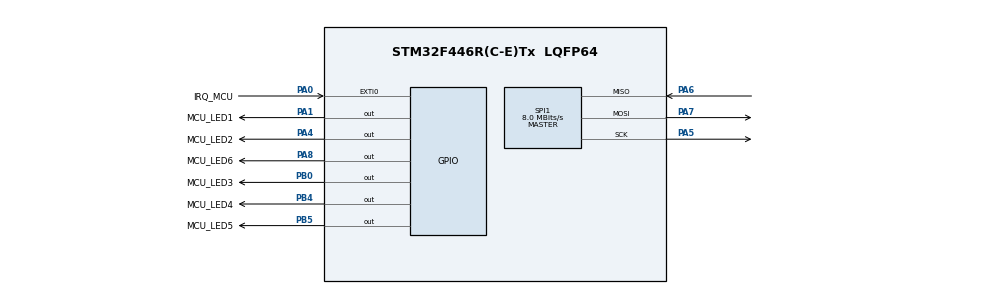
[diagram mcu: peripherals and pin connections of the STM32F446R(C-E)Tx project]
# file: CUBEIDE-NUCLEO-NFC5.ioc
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Mcu.Family=STM32F4
Mcu.Name=STM32F446R(C-E)Tx
Mcu.Package=LQFP64
NVIC.EXTI0_IRQn=true\:0\:0\:false\:false\:true\:true\:true
NVIC.PriorityGroup=NVIC_PRIORITYGROUP_4
PA0-WKUP.GPIO_Label=IRQ_MCU
PA0-WKUP.Signal=GPXTI0
PA1.GPIO_Label=MCU_LED1
PA1.Signal=GPIO_Output
PA4.GPIO_Label=MCU_LED2
PA4.Signal=GPIO_Output
PA5.Mode=Full_Duplex_Master
PA5.Signal=SPI1_SCK
PA6.Mode=Full_Duplex_Master
PA6.Signal=SPI1_MISO
PA7.Mode=Full_Duplex_Master
PA7.Signal=SPI1_MOSI
PA8.GPIO_Label=MCU_LED6
PA8.Signal=GPIO_Output
PB0.GPIO_Label=MCU_LED3
PB0.Signal=GPIO_Output
PB4.GPIO_Label=MCU_LED4
PB4.Signal=GPIO_Output
PB5.GPIO_Label=MCU_LED5
PB5.Signal=GPIO_Output
ProjectManager.HeapSize=0x200
ProjectManager.StackSize=0x400
ProjectManager.TargetToolchain=STM32CubeIDE
RCC.CortexFreq_Value=16000000
RCC.USBFreq_Value=96000000
RCC.VCOOutputFreq_Value=192000000
SPI1.CalculateBaudRate=8.0 MBits/s
SPI1.Direction=SPI_DIRECTION_2LINES
SPI1.Mode=SPI_MODE_MASTER
SPI1.VirtualType=VM_MASTER
board=custom

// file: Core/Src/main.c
/* USER CODE BEGIN Header */
/**
  ******************************************************************************
  * @file           : main.c
  * @brief          : Main program body
  ******************************************************************************
  * @attention
  *
  * <h2><center>&copy; Copyright (c) 2020 STMicroelectronics.
  * All rights reserved.</center></h2>
  *
  * This software component is licensed by ST under BSD 3-Clause license,
  * the "License"; You may not use this file except in compliance with the
  * License. You may obtain a copy of the License at:
  *                        opensource.org/licenses/BSD-3-Clause
  *
  ******************************************************************************
  */
/* USER CODE END Header */
#include "main.h"

/* USER CODE BEGIN Includes */
#include "ndef_poller.h"
#include "ndef_message.h"
#include "ndef_types_rtd.h"
#include "ndef_types_mime.h"
#include "rfal_nfc.h"

// Demo code
#include "utils.h"
/* USER CODE END Includes */

/* USER CODE BEGIN PD */
#define B1_Pin GPIO_PIN_13
#define B1_GPIO_Port GPIOC
#define IRQ_3911_Pin GPIO_PIN_0
#define IRQ_3911_GPIO_Port GPIOA
#define IRQ_3911_EXTI_IRQn EXTI0_IRQn
#define LED_F_Pin GPIO_PIN_1
#define LED_F_GPIO_Port GPIOA
#define USART_TX_Pin GPIO_PIN_2
#define USART_TX_GPIO_Port GPIOA
#define USART_RX_Pin GPIO_PIN_3
#define USART_RX_GPIO_Port GPIOA
#define LED_B_Pin GPIO_PIN_4
#define LED_B_GPIO_Port GPIOA
#define LED_A_Pin GPIO_PIN_0
#define LED_A_GPIO_Port GPIOB
#define LED_FIELD_Pin GPIO_PIN_8
#define LED_FIELD_GPIO_Port GPIOA
#define TMS_Pin GPIO_PIN_13
#define TMS_GPIO_Port GPIOA
#define TCK_Pin GPIO_PIN_14
#define TCK_GPIO_Port GPIOA
#define SWO_Pin GPIO_PIN_3
#define SWO_GPIO_Port GPIOB
#define LED_V_Pin GPIO_PIN_4
#define LED_V_GPIO_Port GPIOB
#define LED_AP2P_Pin GPIO_PIN_5
#define LED_AP2P_GPIO_Port GPIOB
#define SPI1_CS_Pin GPIO_PIN_6
#define SPI1_CS_GPIO_Port GPIOB

/* USER CODE END PD */

SPI_HandleTypeDef hspi1;

void SystemClock_Config(void);
static void MX_GPIO_Init(void);
static void MX_SPI1_Init(void);

/* USER CODE BEGIN 0 */

/* Definition of possible states the demo state machine could have */
#define DEMO_ST_NOTINIT               0     /*!< Demo State:  Not initialized        */
#define DEMO_ST_START_DISCOVERY       1     /*!< Demo State:  Start Discovery        */
#define DEMO_ST_DISCOVERY             2     /*!< Demo State:  Discovery              */

#define DEMO_NFCV_BLOCK_LEN           4     /*!< NFCV Block len                      */

#define DEMO_NFCV_USE_SELECT_MODE     false /*!< NFCV demonstrate select mode        */
#define DEMO_NFCV_WRITE_TAG           false /*!< NFCV demonstrate Write Single Block */

/*
 ******************************************************************************
 * GLOBAL MACROS
 ******************************************************************************
 */

/*
 ******************************************************************************
 * LOCAL VARIABLES
 ******************************************************************************
 */

/* P2P communication data */
static uint8_t NFCID3[] = {0x01, 0xFE, 0x03, 0x04, 0x05, 0x06, 0x07, 0x08, 0x09, 0x0A};
static uint8_t GB[] = {0x46, 0x66, 0x6d, 0x01, 0x01, 0x11, 0x02, 0x02, 0x07, 0x80, 0x03, 0x02, 0x00, 0x03, 0x04, 0x01, 0x32, 0x07, 0x01, 0x03};

/* APDUs communication data */
static uint8_t ndefSelectApp[] = { 0x00, 0xA4, 0x04, 0x00, 0x07, 0xD2, 0x76, 0x00, 0x00, 0x85, 0x01, 0x01, 0x00 };
static uint8_t ccSelectFile[] = { 0x00, 0xA4, 0x00, 0x0C, 0x02, 0xE1, 0x03};
static uint8_t readBynary[] = { 0x00, 0xB0, 0x00, 0x00, 0x0F };
/*static uint8_t ppseSelectApp[] = { 0x00, 0xA4, 0x04, 0x00, 0x0E, 0x32, 0x50, 0x41, 0x59, 0x2E, 0x53, 0x59, 0x53, 0x2E, 0x44, 0x44, 0x46, 0x30, 0x31, 0x00 };*/

/* P2P communication data */
static uint8_t ndefLLCPSYMM[] = {0x00, 0x00};
static uint8_t ndefInit[] = {0x05, 0x20, 0x06, 0x0F, 0x75, 0x72, 0x6E, 0x3A, 0x6E, 0x66, 0x63, 0x3A, 0x73, 0x6E, 0x3A, 0x73, 0x6E, 0x65, 0x70, 0x02, 0x02, 0x07, 0x80, 0x05, 0x01, 0x02};
static uint8_t ndefUriSTcom[] = {0x13, 0x20, 0x00, 0x10, 0x02, 0x00, 0x00, 0x00, 0x19, 0xc1, 0x01, 0x00, 0x00, 0x00, 0x12, 0x55, 0x00, 0x68, 0x74, 0x74, 0x70, 0x3a, 0x2f, 0x2f, 0x77, 0x77, 0x77, 0x2e, 0x73, 0x74, 0x2e, 0x63, 0x6f, 0x6d};

#if defined(ST25R3916) && defined(RFAL_FEATURE_LISTEN_MODE)
/* NFC-A CE config */
static uint8_t ceNFCA_NFCID[]     = {0x02, 0x11, 0x22, 0x33, 0x44, 0x55, 0x66};                   /* NFCID / UID (7 bytes)                    */
static uint8_t ceNFCA_SENS_RES[]  = {0x44, 0x00};                                                 /* SENS_RES / ATQA                          */
static uint8_t ceNFCA_SEL_RES     = 0x20;                                                         /* SEL_RES / SAK                            */

/* NFC-F CE config */
static uint8_t ceNFCF_nfcid2[]     = {0x02, 0xFE, 0x11, 0x22, 0x33, 0x44, 0x55, 0x66};
static uint8_t ceNFCF_SC[]         = {0x12, 0xFC};
static uint8_t ceNFCF_SENSF_RES[]  = {0x01,                                                       /* SENSF_RES                                */
                                      0x02, 0xFE, 0x11, 0x22, 0x33, 0x44, 0x55, 0x66,             /* NFCID2                                   */
                                      0x00, 0x00, 0x00, 0x00, 0x00, 0x7F, 0x7F, 0x00,             /* PAD0, PAD01, MRTIcheck, MRTIupdate, PAD2 */
                                      0x00, 0x00 };                                               /* RD                                       */
#endif /* RFAL_FEATURE_LISTEN_MODE */

/*
 ******************************************************************************
 * LOCAL VARIABLES
 ******************************************************************************
 */
static rfalNfcDiscoverParam discParam;
static uint8_t              state = DEMO_ST_NOTINIT;

/*
******************************************************************************
* LOCAL FUNCTION PROTOTYPES
******************************************************************************
*/

static void demoP2P( void );
static void demoAPDU( void );
static void demoNfcv( rfalNfcvListenDevice *nfcvDev );
static void demoNfcf( rfalNfcfListenDevice *nfcfDev );
static void demoCE( rfalNfcDevice *nfcDev );
static void demoNotif( rfalNfcState st );
ReturnCode  demoTransceiveBlocking( uint8_t *txBuf, uint16_t txBufSize, uint8_t **rxBuf, uint16_t **rcvLen, uint32_t fwt );

/*!
 *****************************************************************************
 * \brief Demo Notification
 *
 *  This function receives the event notifications from RFAL
 *****************************************************************************
 */
static void demoNotif( rfalNfcState st )
{
    uint8_t       devCnt;
    rfalNfcDevice *dev;

    if( st == RFAL_NFC_STATE_WAKEUP_MODE )
    {
        platformLog("Wake Up mode started \r\n");
    }
    else if( st == RFAL_NFC_STATE_POLL_TECHDETECT )
    {
        platformLog("Wake Up mode terminated. Polling for devices \r\n");
    }
    else if( st == RFAL_NFC_STATE_POLL_SELECT )
    {
        /* Multiple devices were found, activate first of them */
        rfalNfcGetDevicesFound( &dev, &devCnt );
        rfalNfcSelect( 0 );

        platformLog("Multiple Tags detected: %d \r\n", devCnt);
    }
}

/*!
 *****************************************************************************
 * \brief Demo Ini
 *
 *  This function Initializes the required layers for the demo
 *
 * \return true  : Initialization ok
 * \return false : Initialization failed
 *****************************************************************************
 */
bool demoIni( void )
{
    ReturnCode err;

    err = rfalNfcInitialize();
    if( err == ERR_NONE )
    {
        discParam.compMode      = RFAL_COMPLIANCE_MODE_NFC;
        discParam.devLimit      = 1U;
        discParam.nfcfBR        = RFAL_BR_212;
        discParam.ap2pBR        = RFAL_BR_424;

        ST_MEMCPY( &discParam.nfcid3, NFCID3, sizeof(NFCID3) );
        ST_MEMCPY( &discParam.GB, GB, sizeof(GB) );
        discParam.GBLen         = sizeof(GB);

        discParam.notifyCb             = demoNotif;
        discParam.totalDuration        = 1000U;
        discParam.wakeupEnabled        = false;
        discParam.wakeupConfigDefault  = true;
        discParam.techs2Find           = ( RFAL_NFC_POLL_TECH_A | RFAL_NFC_POLL_TECH_B | RFAL_NFC_POLL_TECH_F | RFAL_NFC_POLL_TECH_V | RFAL_NFC_POLL_TECH_ST25TB );

#if defined(ST25R3911) || defined(ST25R3916)
        discParam.techs2Find   |= RFAL_NFC_POLL_TECH_AP2P;
#endif /* ST25R95 */

#if defined(ST25R3916)

      /* Set configuration for NFC-A CE */
      ST_MEMCPY( discParam.lmConfigPA.SENS_RES, ceNFCA_SENS_RES, RFAL_LM_SENS_RES_LEN );                        /* Set SENS_RES / ATQA */
      ST_MEMCPY( discParam.lmConfigPA.nfcid, ceNFCA_NFCID, RFAL_NFCID2_LEN );                                   /* Set NFCID / UID */
      discParam.lmConfigPA.nfcidLen = RFAL_LM_NFCID_LEN_07;                                                     /* Set NFCID length to 7 bytes */
      discParam.lmConfigPA.SEL_RES  = ceNFCA_SEL_RES;                                                           /* Set SEL_RES / SAK */

      /* Set configuration for NFC-F CE */
      ST_MEMCPY( discParam.lmConfigPF.SC, ceNFCF_SC, RFAL_LM_SENSF_SC_LEN );                                    /* Set System Code */
      ST_MEMCPY( &ceNFCF_SENSF_RES[RFAL_NFCF_LENGTH_LEN], ceNFCF_nfcid2, RFAL_LM_SENSF_RES_LEN );               /* Load NFCID2 on SENSF_RES */
      ST_MEMCPY( discParam.lmConfigPF.SENSF_RES, ceNFCF_SENSF_RES, RFAL_LM_SENSF_RES_LEN );                     /* Set SENSF_RES / Poll Response */

      discParam.techs2Find |= ( RFAL_NFC_LISTEN_TECH_A | RFAL_NFC_LISTEN_TECH_F );

#endif /* ST25R95 */

        state = DEMO_ST_START_DISCOVERY;
        return true;
    }
    return false;
}

/*!
 *****************************************************************************
 * \brief Demo Cycle
 *
 *  This function executes the demo state machine.
 *  It must be called periodically
 *****************************************************************************
 */
void demoCycle( void )
{
    static rfalNfcDevice *nfcDevice;

    rfalNfcWorker();                                    /* Run RFAL worker periodically */

    /*******************************************************************************/
    /* Check if USER button is pressed */
    if( platformGpioIsLow(PLATFORM_USER_BUTTON_PORT, PLATFORM_USER_BUTTON_PIN))
    {
        discParam.wakeupEnabled = !discParam.wakeupEnabled;    /* enable/disable wakeup */
        state = DEMO_ST_START_DISCOVERY;                       /* restart loop          */
        platformLog("Toggling Wake Up mode %s\r\n", discParam.wakeupEnabled ? "ON": "OFF");

        /* Debounce button */
        while( platformGpioIsLow(PLATFORM_USER_BUTTON_PORT, PLATFORM_USER_BUTTON_PIN) );
    }

    switch( state )
    {
        /*******************************************************************************/
        case DEMO_ST_START_DISCOVERY:

          platformLedOff(PLATFORM_LED_A_PORT, PLATFORM_LED_A_PIN);
          platformLedOff(PLATFORM_LED_B_PORT, PLATFORM_LED_B_PIN);
          platformLedOff(PLATFORM_LED_F_PORT, PLATFORM_LED_F_PIN);
          platformLedOff(PLATFORM_LED_V_PORT, PLATFORM_LED_V_PIN);
          platformLedOff(PLATFORM_LED_AP2P_PORT, PLATFORM_LED_AP2P_PIN);

          rfalNfcDeactivate( false );
          rfalNfcDiscover( &discParam );

          state = DEMO_ST_DISCOVERY;
          break;

        /*******************************************************************************/
        case DEMO_ST_DISCOVERY:

            if( rfalNfcIsDevActivated( rfalNfcGetState() ) )
            {
                rfalNfcGetActiveDevice( &nfcDevice );

                switch( nfcDevice->type )
                {
                    /*******************************************************************************/
                    case RFAL_NFC_LISTEN_TYPE_NFCA:

                        platformLedOn(PLATFORM_LED_A_PORT, PLATFORM_LED_A_PIN);
                        switch( nfcDevice->dev.nfca.type )
                        {
                            case RFAL_NFCA_T1T:
                                platformLog("ISO14443A/Topaz (NFC-A T1T) TAG found. UID: %s\r\n", hex2Str( nfcDevice->nfcid, nfcDevice->nfcidLen ) );
                                break;

                            case RFAL_NFCA_T4T:
                                platformLog("NFCA Passive ISO-DEP device found. UID: %s\r\n", hex2Str( nfcDevice->nfcid, nfcDevice->nfcidLen ) );

                                demoAPDU();
                                break;

                            case RFAL_NFCA_T4T_NFCDEP:
                            case RFAL_NFCA_NFCDEP:
                                platformLog("NFCA Passive P2P device found. NFCID: %s\r\n", hex2Str( nfcDevice->nfcid, nfcDevice->nfcidLen ) );

                                demoP2P();
                                break;

                            default:
                                platformLog("ISO14443A/NFC-A card found. UID: %s\r\n", hex2Str( nfcDevice->nfcid, nfcDevice->nfcidLen ) );
                                break;
                        }
                        break;

                    /*******************************************************************************/
                    case RFAL_NFC_LISTEN_TYPE_NFCB:

                        platformLog("ISO14443B/NFC-B card found. UID: %s\r\n", hex2Str( nfcDevice->nfcid, nfcDevice->nfcidLen ) );
                        platformLedOn(PLATFORM_LED_B_PORT, PLATFORM_LED_B_PIN);

                        if( rfalNfcbIsIsoDepSupported( &nfcDevice->dev.nfcb ) )
                        {
                            demoAPDU();
                        }
                        break;

                    /*******************************************************************************/
                    case RFAL_NFC_LISTEN_TYPE_NFCF:

                        if( rfalNfcfIsNfcDepSupported( &nfcDevice->dev.nfcf ) )
                        {
                            platformLog("NFCF Passive P2P device found. NFCID: %s\r\n", hex2Str( nfcDevice->nfcid, nfcDevice->nfcidLen ) );
                            demoP2P();
                        }
                        else
                        {
                            platformLog("Felica/NFC-F card found. UID: %s\r\n", hex2Str( nfcDevice->nfcid, nfcDevice->nfcidLen ));

                            demoNfcf( &nfcDevice->dev.nfcf );
                        }

                        platformLedOn(PLATFORM_LED_F_PORT, PLATFORM_LED_F_PIN);
                        break;

                    /*******************************************************************************/
                    case RFAL_NFC_LISTEN_TYPE_NFCV:
                        {
                            uint8_t devUID[RFAL_NFCV_UID_LEN];

                            ST_MEMCPY( devUID, nfcDevice->nfcid, nfcDevice->nfcidLen );   /* Copy the UID into local var */
                            REVERSE_BYTES( devUID, RFAL_NFCV_UID_LEN );                 /* Reverse the UID for display purposes */
                            platformLog("ISO15693/NFC-V card found. UID: %s\r\n", hex2Str(devUID, RFAL_NFCV_UID_LEN));

                            platformLedOn(PLATFORM_LED_V_PORT, PLATFORM_LED_V_PIN);

                            demoNfcv( &nfcDevice->dev.nfcv );
                        }
                        break;

                    /*******************************************************************************/
                    case RFAL_NFC_LISTEN_TYPE_ST25TB:

                        platformLog("ST25TB card found. UID: %s\r\n", hex2Str( nfcDevice->nfcid, nfcDevice->nfcidLen ));
                        platformLedOn(PLATFORM_LED_B_PORT, PLATFORM_LED_B_PIN);
                        break;

                    /*******************************************************************************/
                    case RFAL_NFC_LISTEN_TYPE_AP2P:

                        platformLog("NFC Active P2P device found. NFCID3: %s\r\n", hex2Str(nfcDevice->nfcid, nfcDevice->nfcidLen));
                        platformLedOn(PLATFORM_LED_AP2P_PORT, PLATFORM_LED_AP2P_PIN);

                        demoP2P();
                        break;

                    /*******************************************************************************/
                    case RFAL_NFC_POLL_TYPE_NFCA:
                    case RFAL_NFC_POLL_TYPE_NFCF:

                        platformLog("Activated in CE %s mode.\r\n", (nfcDevice->type == RFAL_NFC_POLL_TYPE_NFCA) ? "NFC-A" : "NFC-F");
                        platformLedOn( ((nfcDevice->type == RFAL_NFC_POLL_TYPE_NFCA) ? PLATFORM_LED_A_PORT : PLATFORM_LED_F_PORT),
                                       ((nfcDevice->type == RFAL_NFC_POLL_TYPE_NFCA) ? PLATFORM_LED_A_PIN  : PLATFORM_LED_F_PIN)  );

                        demoCE( nfcDevice );
                        break;

                    /*******************************************************************************/
                    default:
                        break;
                }

                rfalNfcDeactivate( false );
                platformDelay( 500 );
                state = DEMO_ST_START_DISCOVERY;
            }
            break;

        /*******************************************************************************/
        case DEMO_ST_NOTINIT:
        default:
            break;
    }
}

static void demoCE( rfalNfcDevice *nfcDev )
{
#if defined(ST25R3916) && defined(RFAL_FEATURE_LISTEN_MODE)

    ReturnCode err;
    uint8_t *rxData;
    uint16_t *rcvLen;
    uint8_t  txBuf[100];
    uint16_t txLen;

    demoCeInit( ceNFCF_nfcid2 );

    do
    {
        rfalNfcWorker();

        switch( rfalNfcGetState() )
        {
            case RFAL_NFC_STATE_ACTIVATED:
                err = demoTransceiveBlocking( NULL, 0, &rxData, &rcvLen, 0);
                break;

            case RFAL_NFC_STATE_DATAEXCHANGE:
            case RFAL_NFC_STATE_DATAEXCHANGE_DONE:

                txLen = ( (nfcDev->type == RFAL_NFC_POLL_TYPE_NFCA) ? demoCeT4T( rxData, *rcvLen, txBuf, sizeof(txBuf) ): demoCeT3T( rxData, *rcvLen, txBuf, sizeof(txBuf) ) );
                err   = demoTransceiveBlocking( txBuf, txLen, &rxData, &rcvLen, RFAL_FWT_NONE );
                break;

            case RFAL_NFC_STATE_LISTEN_SLEEP:
            default:
                break;
        }
    }
    while( (err == ERR_NONE) || (err == ERR_SLEEP_REQ) );

#endif /* RFAL_FEATURE_LISTEN_MODE */
}

/*!
 *****************************************************************************
 * \brief Demo NFC-F
 *
 * Example how to exchange read and write blocks on a NFC-F tag
 *
 *****************************************************************************
 */
static void demoNfcf( rfalNfcfListenDevice *nfcfDev )
{
    ReturnCode                 err;
    uint8_t                    buf[ (RFAL_NFCF_NFCID2_LEN + RFAL_NFCF_CMD_LEN + (3*RFAL_NFCF_BLOCK_LEN)) ];
    uint16_t                   rcvLen;
    rfalNfcfServ               srv = RFAL_NFCF_SERVICECODE_RDWR;
    rfalNfcfBlockListElem      bl[3];
    rfalNfcfServBlockListParam servBlock;
    //uint8_t                    wrData[] = { 0x00, 0x11, 0x22, 0x33, 0x44, 0x55, 0x66, 0x77, 0x88, 0x99, 0xAA, 0xBB, 0xCC, 0xDD, 0xEE, 0xFF };

    servBlock.numServ   = 1;                            /* Only one Service to be used           */
    servBlock.servList  = &srv;                         /* Service Code: NDEF is Read/Writeable  */
    servBlock.numBlock  = 1;                            /* Only one block to be used             */
    servBlock.blockList = bl;
    bl[0].conf     = RFAL_NFCF_BLOCKLISTELEM_LEN;       /* Two-byte Block List Element           */
    bl[0].blockNum = 0x0001;                            /* Block: NDEF Data                      */

    err = rfalNfcfPollerCheck( nfcfDev->sensfRes.NFCID2, &servBlock, buf, sizeof(buf), &rcvLen);
    platformLog(" Check Block: %s Data:  %s \r\n", (err != ERR_NONE) ? "FAIL": "OK", (err != ERR_NONE) ? "" : hex2Str( &buf[1], RFAL_NFCF_BLOCK_LEN) );

    #if 0  /* Writing example */
        err = rfalNfcfPollerUpdate( nfcfDev->sensfRes.NFCID2, &servBlock, buf , sizeof(buf), wrData, buf, sizeof(buf) );
        platformLog(" Update Block: %s Data: %s \r\n", (err != ERR_NONE) ? "FAIL": "OK", (err != ERR_NONE) ? "" : hex2Str( wrData, RFAL_NFCF_BLOCK_LEN) );
        err = rfalNfcfPollerCheck( nfcfDev->sensfRes.NFCID2, &servBlock, buf, sizeof(buf), &rcvLen);
        platformLog(" Check Block:  %s Data: %s \r\n", (err != ERR_NONE) ? "FAIL": "OK", (err != ERR_NONE) ? "" : hex2Str( &buf[1], RFAL_NFCF_BLOCK_LEN) );
    #endif
}

/*!
 *****************************************************************************
 * \brief Demo NFC-V Exchange
 *
 * Example how to exchange read and write blocks on a NFC-V tag
 *
 *****************************************************************************
 */
static void demoNfcv( rfalNfcvListenDevice *nfcvDev )
{
    ReturnCode            err;
    uint16_t              rcvLen;
    uint8_t               blockNum = 1;
    uint8_t               rxBuf[ 1 + DEMO_NFCV_BLOCK_LEN + RFAL_CRC_LEN ];                        /* Flags + Block Data + CRC */
    uint8_t *             uid;
#if DEMO_NFCV_WRITE_TAG
    uint8_t               wrData[DEMO_NFCV_BLOCK_LEN] = { 0x11, 0x22, 0x33, 0x99 };             /* Write block example */
#endif

    uid = nfcvDev->InvRes.UID;

    #if DEMO_NFCV_USE_SELECT_MODE
        /*
        * Activate selected state
        */
        err = rfalNfcvPollerSelect(RFAL_NFCV_REQ_FLAG_DEFAULT, nfcvDev->InvRes.UID );
        platformLog(" Select %s \r\n", (err != ERR_NONE) ? "FAIL (revert to addressed mode)": "OK" );
        if( err == ERR_NONE )
        {
            uid = NULL;
        }
    #endif

    /*
    * Read block using Read Single Block command
    * with addressed mode (uid != NULL) or selected mode (uid == NULL)
    */
    err = rfalNfcvPollerReadSingleBlock(RFAL_NFCV_REQ_FLAG_DEFAULT, uid, blockNum, rxBuf, sizeof(rxBuf), &rcvLen);
    platformLog(" Read Block: %s %s\r\n", (err != ERR_NONE) ? "FAIL": "OK Data:", (err != ERR_NONE) ? "" : hex2Str( &rxBuf[1], DEMO_NFCV_BLOCK_LEN));

    #if DEMO_NFCV_WRITE_TAG /* Writing example */
        err = rfalNfcvPollerWriteSingleBlock(RFAL_NFCV_REQ_FLAG_DEFAULT, uid, blockNum, wrData, sizeof(wrData));
        platformLog(" Write Block: %s Data: %s\r\n", (err != ERR_NONE) ? "FAIL": "OK", hex2Str( wrData, DEMO_NFCV_BLOCK_LEN) );
        err = rfalNfcvPollerReadSingleBlock(RFAL_NFCV_REQ_FLAG_DEFAULT, uid, blockNum, rxBuf, sizeof(rxBuf), &rcvLen);
        platformLog(" Read Block: %s %s\r\n", (err != ERR_NONE) ? "FAIL": "OK Data:", (err != ERR_NONE) ? "" : hex2Str( &rxBuf[1], DEMO_NFCV_BLOCK_LEN));
    #endif
}

/*!
 *****************************************************************************
 * \brief Demo P2P Exchange
 *
 * Sends a NDEF URI record 'http://www.ST.com' via NFC-DEP (P2P) protocol.
 *
 * This method sends a set of static predefined frames which tries to establish
 * a LLCP connection, followed by the NDEF record, and then keeps sending
 * LLCP SYMM packets to maintain the connection.
 *
 *
 *****************************************************************************
 */
void demoP2P( void )
{
    uint16_t   *rxLen;
    uint8_t    *rxData;
    ReturnCode err;

    platformLog(" Initalize device .. ");
    err = demoTransceiveBlocking( ndefInit, sizeof(ndefInit), &rxData, &rxLen, RFAL_FWT_NONE);
    if( err != ERR_NONE )
    {
        platformLog("failed.");
        return;
    }
    platformLog("succeeded.\r\n");

    platformLog(" Push NDEF Uri: www.ST.com .. ");
    err = demoTransceiveBlocking( ndefUriSTcom, sizeof(ndefUriSTcom), &rxData, &rxLen, RFAL_FWT_NONE);
    if( err != ERR_NONE )
    {
        platformLog("failed.");
        return;
    }
    platformLog("succeeded.\r\n");

    platformLog(" Device present, maintaining connection ");
    while(err == ERR_NONE)
    {
        err = demoTransceiveBlocking( ndefLLCPSYMM, sizeof(ndefLLCPSYMM), &rxData, &rxLen, RFAL_FWT_NONE);
        platformLog(".");
        platformDelay(50);
    }
    platformLog("\r\n Device removed.\r\n");
}

/* USER CODE END 0 */

int main(void)
{

  /* MCU Configuration--------------------------------------------------------*/

  /* Reset of all peripherals, Initializes the Flash interface and the Systick. */
  HAL_Init();

  /* Configure the system clock */
  SystemClock_Config();

  /* Initialize all configured peripherals */
  MX_GPIO_Init();
  MX_SPI1_Init();

  /* Infinite loop */
  /* USER CODE BEGIN WHILE */
  while (1)
  {

	  demoCycle();
    /* USER CODE END WHILE */

  }
}

void SystemClock_Config(void)
{
  RCC_OscInitTypeDef RCC_OscInitStruct = {0};
  RCC_ClkInitTypeDef RCC_ClkInitStruct = {0};

  /** Configure the main internal regulator output voltage
  */
  __HAL_RCC_PWR_CLK_ENABLE();
  __HAL_PWR_VOLTAGESCALING_CONFIG(PWR_REGULATOR_VOLTAGE_SCALE3);
  /** Initializes the RCC Oscillators according to the specified parameters
  * in the RCC_OscInitTypeDef structure.
  */
  RCC_OscInitStruct.OscillatorType = RCC_OSCILLATORTYPE_HSI;
  RCC_OscInitStruct.HSIState = RCC_HSI_ON;
  RCC_OscInitStruct.HSICalibrationValue = RCC_HSICALIBRATION_DEFAULT;
  RCC_OscInitStruct.PLL.PLLState = RCC_PLL_NONE;
  if (HAL_RCC_OscConfig(&RCC_OscInitStruct) != HAL_OK)
  {
    Error_Handler();
  }
  /** Initializes the CPU, AHB and APB buses clocks
  */
  RCC_ClkInitStruct.ClockType = RCC_CLOCKTYPE_HCLK|RCC_CLOCKTYPE_SYSCLK
                              |RCC_CLOCKTYPE_PCLK1|RCC_CLOCKTYPE_PCLK2;
  RCC_ClkInitStruct.SYSCLKSource = RCC_SYSCLKSOURCE_HSI;
  RCC_ClkInitStruct.AHBCLKDivider = RCC_SYSCLK_DIV1;
  RCC_ClkInitStruct.APB1CLKDivider = RCC_HCLK_DIV1;
  RCC_ClkInitStruct.APB2CLKDivider = RCC_HCLK_DIV1;

  if (HAL_RCC_ClockConfig(&RCC_ClkInitStruct, FLASH_LATENCY_0) != HAL_OK)
  {
    Error_Handler();
  }
}

static void MX_SPI1_Init(void)
{

  /* SPI1 parameter configuration*/
  hspi1.Instance = SPI1;
  hspi1.Init.Mode = SPI_MODE_MASTER;
  hspi1.Init.Direction = SPI_DIRECTION_2LINES;
  hspi1.Init.DataSize = SPI_DATASIZE_8BIT;
  hspi1.Init.CLKPolarity = SPI_POLARITY_LOW;
  hspi1.Init.CLKPhase = SPI_PHASE_1EDGE;
  hspi1.Init.NSS = SPI_NSS_SOFT;
  hspi1.Init.BaudRatePrescaler = SPI_BAUDRATEPRESCALER_2;
  hspi1.Init.FirstBit = SPI_FIRSTBIT_MSB;
  hspi1.Init.TIMode = SPI_TIMODE_DISABLE;
  hspi1.Init.CRCCalculation = SPI_CRCCALCULATION_DISABLE;
  hspi1.Init.CRCPolynomial = 10;
  if (HAL_SPI_Init(&hspi1) != HAL_OK)
  {
    Error_Handler();
  }

}

static void MX_GPIO_Init(void)
{
  GPIO_InitTypeDef GPIO_InitStruct = {0};

  /* GPIO Ports Clock Enable */
  __HAL_RCC_GPIOA_CLK_ENABLE();
  __HAL_RCC_GPIOB_CLK_ENABLE();

  /*Configure GPIO pin Output Level */
  HAL_GPIO_WritePin(GPIOA, MCU_LED1_Pin|MCU_LED2_Pin|MCU_LED6_Pin, GPIO_PIN_RESET);

  /*Configure GPIO pin Output Level */
  HAL_GPIO_WritePin(GPIOB, MCU_LED3_Pin|MCU_LED4_Pin|MCU_LED5_Pin, GPIO_PIN_RESET);

  /*Configure GPIO pin : IRQ_MCU_Pin */
  GPIO_InitStruct.Pin = IRQ_MCU_Pin;
  GPIO_InitStruct.Mode = GPIO_MODE_IT_RISING;
  GPIO_InitStruct.Pull = GPIO_NOPULL;
  HAL_GPIO_Init(IRQ_MCU_GPIO_Port, &GPIO_InitStruct);

  /*Configure GPIO pins : MCU_LED1_Pin MCU_LED2_Pin MCU_LED6_Pin */
  GPIO_InitStruct.Pin = MCU_LED1_Pin|MCU_LED2_Pin|MCU_LED6_Pin;
  GPIO_InitStruct.Mode = GPIO_MODE_OUTPUT_PP;
  GPIO_InitStruct.Pull = GPIO_NOPULL;
  GPIO_InitStruct.Speed = GPIO_SPEED_FREQ_LOW;
  HAL_GPIO_Init(GPIOA, &GPIO_InitStruct);

  /*Configure GPIO pins : MCU_LED3_Pin MCU_LED4_Pin MCU_LED5_Pin */
  GPIO_InitStruct.Pin = MCU_LED3_Pin|MCU_LED4_Pin|MCU_LED5_Pin;
  GPIO_InitStruct.Mode = GPIO_MODE_OUTPUT_PP;
  GPIO_InitStruct.Pull = GPIO_NOPULL;
  GPIO_InitStruct.Speed = GPIO_SPEED_FREQ_LOW;
  HAL_GPIO_Init(GPIOB, &GPIO_InitStruct);

  /* EXTI interrupt init*/
  HAL_NVIC_SetPriority(EXTI0_IRQn, 0, 0);
  HAL_NVIC_EnableIRQ(EXTI0_IRQn);

}

void Error_Handler(void)
{
}

/************************ (C) COPYRIGHT STMicroelectronics *****END OF FILE****/
